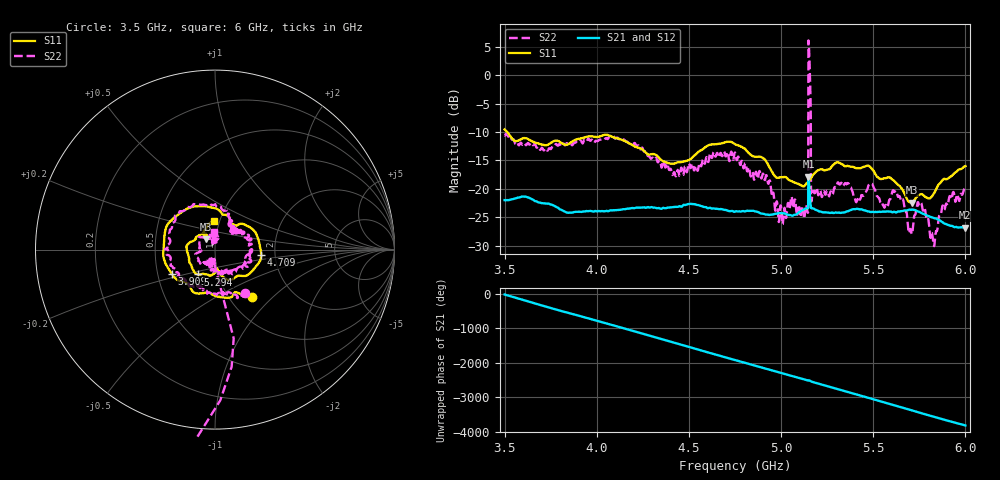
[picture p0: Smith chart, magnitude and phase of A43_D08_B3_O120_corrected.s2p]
! Created with skrf 1.9.0 (http://scikit-rf.org).
# Hz S RI R 50.0
!freq ReS11 ImS11 ReS21 ImS21 ReS12 ImS12 ReS22 ImS22
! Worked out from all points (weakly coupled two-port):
!   1601 points, 3.5 GHz to 6 GHz, reference 50 ohm
!   highest |S21| = -17.84 dB at 5.148 GHz (marker M1); lowest = -26.8 dB at 5.995 GHz (marker M2)
!   lowest |S11| = -22.4 dB at 5.709 GHz (marker M3), VSWR 1.16, Z = 45 + j5.21 ohm
!   |S11| at or under -10 dB: 3.514 GHz to end of sweep
!   |S22| runs from -30.1 to 6.1 dB; largest |S21 - S12| = 0.00097
!   S11 on the Smith chart (normalised r, x): 3.5 GHz: 1.27, -0.75; 3.909 GHz: 0.59, -0.17; 4.709 GHz: 1.69, -0.12; 5.294 GHz: 0.80, -0.23; 6 GHz: 0.94, +0.30
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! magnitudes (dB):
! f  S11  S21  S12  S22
! 3.5 GHz  -9.5  -22.0  -22.0  -10.6
! 3.909 GHz  -11.2  -24.0  -24.0  -11.6
! 3.917 GHz  -11.1  -24.1  -24.0  -11.7
! 4.334 GHz  -14.4  -23.4  -23.3  -15.2
! 4.709 GHz  -11.7  -23.8  -23.8  -13.5
! 4.75 GHz  -12.1  -24.0  -23.9  -13.6
! 4.93 GHz  -15.8  -24.5  -24.5  -19.1
! 4.998 GHz  -17.9  -24.3  -24.3  -22.9
! 5.116 GHz  -19.5  -23.8  -23.7  -23.0
! 5.134 GHz  -19.2  -23.4  -23.4  -22.9
! 5.148 GHz  -18.7  -17.8  -17.9  6.1
! 5.161 GHz  -18.2  -22.9  -22.9  -5.9
! 5.167 GHz  -17.8  -23.4  -23.4  -21.8
! 5.175 GHz  -17.5  -23.5  -23.4  -20.4
! 5.294 GHz  -15.5  -24.2  -24.2  -19.7
! 5.584 GHz  -18.0  -24.0  -24.0  -22.3
! 5.631 GHz  -19.2  -24.0  -24.0  -21.0
! 5.709 GHz  -22.4  -23.7  -23.6  -28.0
! 5.752 GHz  -21.0  -24.1  -24.1  -22.9
! 5.833 GHz  -20.6  -25.2  -25.1  -29.6
! 5.995 GHz  -16.0  -26.8  -26.7  -20.0
! 6 GHz  -16.0  -26.8  -26.8  -20.1
